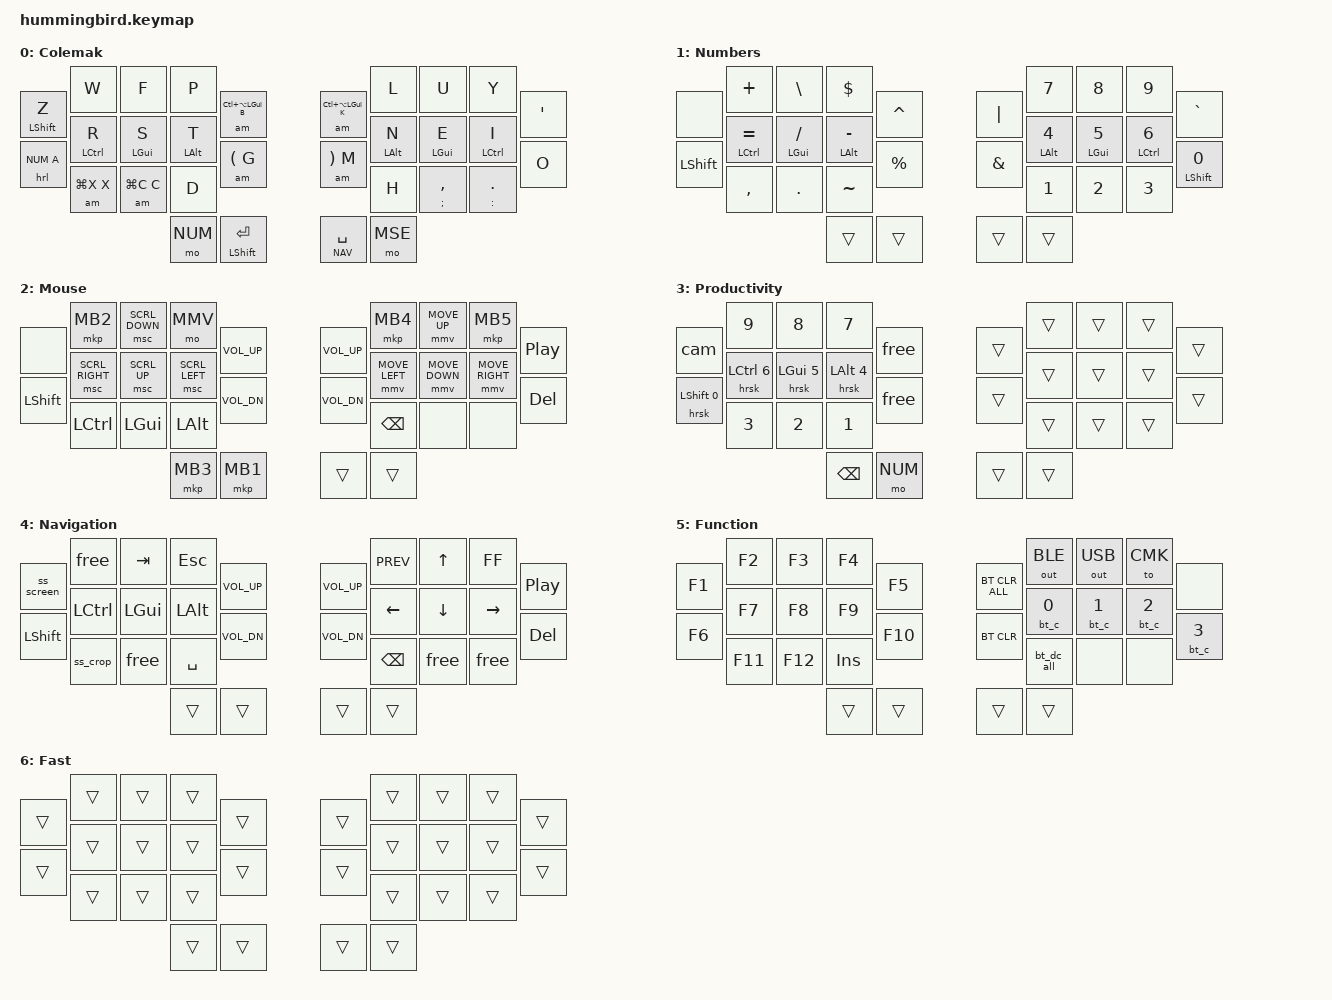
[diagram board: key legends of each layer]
#define ZMK_POINTING_DEFAULT_MOVE_VAL 1900  // default: 600
#define ZMK_POINTING_DEFAULT_SCRL_VAL 14    // default: 10

#include <behaviors.dtsi>
#include <dt-bindings/zmk/keys.h>
#include <dt-bindings/zmk/pointing.h>
#include <dt-bindings/zmk/outputs.h>
#include <dt-bindings/zmk/bt.h>
#include <input/processors.dtsi>   // for speed layer
#include "zmk-helpers/helper.h"
#include "zmk-helpers/key-labels/hummingbird.h"

#define LH1 26 // correct hummingbird.h's labels' values
#define LH0 27
#define RH0 28
#define RH1 29

#define CMK 0 // parameterize layer names
#define NUM 1
#define MSE 2
#define PRD 3
#define NAV 4
#define FUN 5
#define MMV 6

// --- enable ctrl tab somehow
// test balanced hrm for middle, index, inner
// with tap-preferred for pinky, ring
// mouse layer is the least used layer. Move it somehow?
// try to move to 2 thumb keys? alpha thumb? new layout????
// 5x arrow on holding ctrl
// --> macro layer, triggering on mouse (sensor? processor?)
//      save
//      del (morph?)
//      esc/enter
//      send held when holding mods
//      macro for  +Lalt 1, f1 -Lalt


// overrides
&mmv_input_listener { 
    speeder { layers = <MMV>;
        input-processors = <&zip_xy_scaler 7 2>; }; 
};
&mmv {
    trigger-period-ms = <8>;
    time-to-max-speed-ms = <340>;
    acceleration-exponent = <1>;
};
&msc {
    time-to-max-speed-ms = <1000>;
    acceleration-exponent = <1>;
};
&lt { quick_tap_ms = <125>; }; // repeat space


// behaviours
// modify hrm, it is being annoying (bei, br, as, rs,)
ZMK_HOLD_TAP(hrm, // HR mods
    flavor = "tap-preferred";
    tapping-term-ms = <225>;
    require-prior-idle-ms = <80>;
    quick-tap-ms = <180>;
    bindings = <&kp>, <&kp>;
)
ZMK_HOLD_TAP(hrl, // HR layer
    flavor = "tap-preferred";
    tapping-term-ms = <200>;
    require-prior-idle-ms = <60>;
    quick-tap-ms = <180>;
    bindings = <&mo>, <&kp>;
)
ZMK_HOLD_TAP(hrsk, // HR sticky
    flavor = "balanced";
    tapping-term-ms = <180>;
    require-prior-idle-ms = <75>;
    quick-tap-ms = <180>;
    bindings = <&sk>, <&kp>;
)
ZMK_HOLD_TAP(tl, // timeless
    flavor = "balanced";
    tapping-term-ms = <350>;
    require-prior-idle-ms = <50>;
    quick-tap-ms = <180>;
    bindings = <&kp>, <&kp>;
)
ZMK_HOLD_TAP(am, // automod
    flavor = "tap-preferred";
    tapping-term-ms = <175>;
    require-prior-idle-ms = <95>;
    quick-tap-ms = <200>;
    bindings = <&kp>, <&kp>;
)
ZMK_HOLD_TAP(blr, // bootloader + reset
    flavor = "tap-preferred";
    tapping-term-ms = <275>;
    bindings = <&bootloader>, <&sys_reset>;
)
ZMK_TAP_DANCE(ss_screen, // tap copy, hold save
    tapping-term-ms = <300>;
    bindings =
        <&mt LS(LA(LC(LG(N2)))) LS(LA(LC(LG(N1))))>,
        <&kp PRINTSCREEN>;
)
ZMK_TAP_DANCE(ss_crop, // same as ^
    tapping-term-ms = <300>;
    bindings =
        <&mt LS(LA(LC(LG(N4)))) LS(LA(LC(LG(N3))))>,
        <&kp LS(LG(S))>;
)
///////////
//make period/comma HORIZONTAL combos instead of vertical
//  &tapdance [view macro] mt([view macro 2] [save]) 
// LA(LSHIFT) language swap
ZMK_TAP_DANCE(cam,
    tapping-term-ms = <200>;
    bindings =
    <&mt LA(F1) LA(N1)>,
    <&kp LC(S)>;
)
ZMK_MOD_MORPH(cmdq,
    bindings = <&qu>, <&kp LG(Q)>;
    mods = <MOD_LGUI>;
)



// macros
ZMK_MACRO(bt_dc_all, // disconnect all bt
    bindings = <&bt BT_DISC 0 &bt BT_DISC 1 &bt BT_DISC 2 &bt BT_DISC 3>;
)
ZMK_MACRO(qu,
    bindings = <&kp Q &kp U>;
)
ZMK_MACRO_ONE_PARAM(bt_c, // combine bt_sel with out_ble
    bindings = <&macro_param_1to2  &bt BT_SEL 0  /*&out OUT_BLE*/>;
)
ZMK_MACRO(free, bindings = <&none>;) // marker for free spots

// combos                                                         lyr, t/o, idl
//disable some combos on mouse layer
ZMK_COMBO(v,            &am LG(V) V,          LT2 LT1,            ALL) // v
ZMK_COMBO(qucombo,      &qu,                  LB3 LB2,            ALL) // qu
ZMK_COMBO(j,            &kp J,                LB2 LB1,            ALL) // j
ZMK_COMBO(plus,         &mt PLUS EQUAL,       LM1 LM0,            ALL) // + =     *REMEMBER this exists*
ZMK_COMBO(semicolon,    &mt GT LT,            RB2 RB3,            ALL) // < >
ZMK_COMBO(underscore,   &kp UNDERSCORE,       RT1 RT2,            ALL, 23, 50) // _
ZMK_COMBO(dashes,       &mt UNDERSCORE MINUS, RB1 RB2,            ALL) // - _
ZMK_COMBO(slash,        &kp SLASH,            RT2 RT3,            ALL) // /
ZMK_COMBO(esc,          &kp ESC,              LT3 LT2,            ALL, 33, 50) // esc
ZMK_COMBO(tab,          &kp TAB,              LM3 LM2,            ALL, 30, 50) // tab
ZMK_COMBO(bspc,         &kp BSPC,             RM2 RM3,            CMK NUM NAV FUN MMV, 55, 40) // backspace
ZMK_COMBO(bspc_l,       &kp BSPC,             LB3 LB2 LB1,        ALL) // auxiliary backspace
ZMK_COMBO(blr_l,        &blr 0 0,             LT4 LT0 LM4 LM0,    ALL) // rst left (inner+outer)
ZMK_COMBO(blr_r,        &blr 0 0,             RT0 RT4 RM0 RM4,    ALL) // rst right (inner+outer)
ZMK_COMBO(FUN,          &mo FUN,              LH1 LH0,            ALL) // FUN
ZMK_COMBO(CMK,          &to CMK,              LM3 LM2 LM1 RM1 RM2 RM3) // CMK (LCAG mirror positions)
ZMK_COMBO(msctrl,       &kp LC(UP),           LT3 LT2 LT1,        ALL) // mission control
ZMK_COMBO(par,          &mt RPAR LPAR,        LT2 LM2,            ALL) // () 
ZMK_COMBO(bkt,          &mt RBKT LBKT,        LT3 LM3,            ALL) // []
ZMK_COMBO(bang,         &kp EXCL,             LT0 LM0,            ALL) // !
ZMK_COMBO(inter,        &kp QMARK,            RT0 RM0,            ALL) // ?
ZMK_COMBO(pound_at,     &mt AT POUND,         LT1 LM1,            ALL) // @ #
ZMK_COMBO(astrk_gr,     &mt GRAVE ASTERISK,   RT1 RM1,            ALL) // * `
// LA(LSHIFT) language swap

ZMK_LAYER(Colemak, // CMK 0
// ╭──────────────┬──────────────┬──────────────┬──────────────┬──────────────╮   ╭─────────────┬──────────────┬──────────────┬──────────────┬──────────────╮
    &hrm LSHIFT Z  &kp W          &kp F          &kp P         &am LC(LA(LGUI)) B &am LC(LA(LGUI)) K  &kp L     &kp U          &kp Y          &kp APOS
// ├──────────────┼──────────────┼──────────────┼──────────────┼──────────────┤   ├─────────────┼──────────────┼──────────────┼──────────────┼──────────────┤
    &hrl NUM A     &hrm LCTRL R   &hrm LGUI S    &hrm LALT T    &am LPAR G         &am RPAR M    &hrm LALT N    &hrm LGUI E    &hrm LCTRL I   &kp O
// ╰──────────────┼──────────────┼──────────────┼──────────────┼──────────────╯   ╰─────────────┼──────────────┼──────────────┼──────────────┼──────────────╯
                   &am LG(X) X    &am LG(C) C    &kp D                                           &kp H          &mt SCLN COMMA &mt COLON DOT
//                ╰──────────────┴──────────────┼──────────────┼──────────────╮   ╭─────────────┼──────────────┼──────────────┴──────────────╯
                                                 &mo NUM        &mt LSHIFT ENTER   &lt NAV SPACE &mo MSE
//                                              ╰──────────────┴──────────────╯   ╰─────────────┴──────────────╯
)
ZMK_LAYER(Numbers, // NUM 1
// ╭──────────────┬──────────────┬──────────────┬──────────────┬──────────────╮   ╭─────────────┬──────────────┬──────────────┬──────────────┬──────────────╮
    &none          &kp PLUS       &kp BSLH       &kp DLLR       &kp CARET          &kp PIPE      &kp N7         &kp N8         &kp N9         &kp GRAVE
// ├──────────────┼──────────────┼──────────────┼──────────────┼──────────────┤   ├─────────────┼──────────────┼──────────────┼──────────────┼──────────────┤
    &kp LSHIFT     &hrm LCTRL EQUAL &hrm LGUI FSLH &hrm LALT MINUS &kp PRCNT       &kp AMPS      &hrm LALT N4   &hrm LGUI N5   &hrm LCTRL N6  &hrm LSHIFT N0
// ╰──────────────┼──────────────┼──────────────┼──────────────┼──────────────╯   ╰─────────────┼──────────────┼──────────────┼──────────────┼──────────────╯
                   &kp  COMMA     &kp  DOT       &kp  TILDE                                      &kp N1         &kp N2         &kp N3
//                ╰──────────────┴──────────────┼──────────────┼──────────────╮   ╭─────────────┼──────────────┼──────────────┴──────────────╯
                                                 &trans         &trans             &trans        &trans
//                                              ╰──────────────┴──────────────╯   ╰─────────────┴──────────────╯
)
ZMK_LAYER(Mouse, // MSE 2
// ╭──────────────┬──────────────┬──────────────┬──────────────┬──────────────╮   ╭─────────────┬──────────────┬──────────────┬──────────────┬──────────────╮
    &none          &mkp MB2       &msc SCRL_DOWN &mo MMV        &kp C_VOL_UP       &kp C_VOL_UP  &mkp MB4       &mmv MOVE_UP   &mkp MB5       &kp C_PP
// ├──────────────┼──────────────┼──────────────┼──────────────┼──────────────┤   ├─────────────┼──────────────┼──────────────┼──────────────┼──────────────┤
    &kp LSHFT      &msc SCRL_RIGHT &msc SCRL_UP  &msc SCRL_LEFT &kp C_VOL_DN       &kp C_VOL_DN  &mmv MOVE_LEFT &mmv MOVE_DOWN &mmv MOVE_RIGHT &kp DEL
// ╰──────────────┼──────────────┼──────────────┼──────────────┼──────────────╯   ╰─────────────┼──────────────┼──────────────┼──────────────┼──────────────╯
                   &kp LCTRL      &kp LGUI       &kp LALT                                        &kp BACKSPACE  &none          &none
//                ╰──────────────┴──────────────┼──────────────┼──────────────╮   ╭─────────────┼──────────────┼──────────────┴──────────────╯
                                                 &mkp MB3       &mkp MB1           &trans        &trans
//                                              ╰──────────────┴──────────────╯   ╰─────────────┴──────────────╯
)
//&zip_temp_layer PRD <time>
ZMK_LAYER(Productivity, // PRD 3
//layer-specific combos?
// ╭──────────────┬──────────────┬──────────────┬──────────────┬──────────────╮   ╭─────────────┬──────────────┬──────────────┬──────────────┬──────────────╮)
    &cam           &kp N9         &kp N8         &kp N7         &free              &trans        &trans         &trans         &trans         &trans
// ├──────────────┼──────────────┼──────────────┼──────────────┼──────────────┤   ├─────────────┼──────────────┼──────────────┼──────────────┼──────────────┤
    &hrsk LSHIFT N0 &hrsk LCTRL N6 &hrsk LGUI N5 &hrsk LALT N4  &free              &trans        &trans         &trans         &trans         &trans
// ╰──────────────┼──────────────┼──────────────┼──────────────┼──────────────╯   ╰─────────────┼──────────────┼──────────────┼──────────────┼──────────────╯
                   &kp N3         &kp N2         &kp N1                                          &trans         &trans         &trans
//                ╰──────────────┴──────────────┼──────────────┼──────────────╮   ╭─────────────┼──────────────┼──────────────┴──────────────╯
                                                 &kp BSPC       &mo NUM            &trans        &trans
//                                              ╰──────────────┴──────────────╯   ╰─────────────┴──────────────╯
)
ZMK_LAYER(Navigation, // NAV 4
// ╭──────────────┬──────────────┬──────────────┬──────────────┬──────────────╮   ╭─────────────┬──────────────┬──────────────┬──────────────┬──────────────╮
    &ss_screen     &free          &kp TAB        &kp ESC        &kp C_VOL_UP       &kp C_VOL_UP  &kp C_PREV     &kp UP         &kp C_FF       &kp C_PP
// ├──────────────┼──────────────┼──────────────┼──────────────┼──────────────┤   ├─────────────┼──────────────┼──────────────┼──────────────┼──────────────┤
    &kp LSHFT      &kp LCTRL      &kp LGUI       &kp LALT       &kp C_VOL_DN       &kp C_VOL_DN  &kp LEFT       &kp DOWN       &kp RIGHT      &kp DEL
// ╰──────────────┼──────────────┼──────────────┼──────────────┼──────────────╯   ╰─────────────┼──────────────┼──────────────┼──────────────┼──────────────╯
                   &ss_crop       &free          &kp SPACE                                       &kp BSPC       &free          &free
//                ╰──────────────┴──────────────┼──────────────┼──────────────╮   ╭─────────────┼──────────────┼──────────────┴──────────────╯
                                                 &trans         &trans             &trans        &trans
//                                              ╰──────────────┴──────────────╯   ╰─────────────┴──────────────╯
)
ZMK_LAYER(Function, // FUN 5
// ╭──────────────┬──────────────┬──────────────┬──────────────┬──────────────╮   ╭─────────────┬──────────────┬──────────────┬──────────────┬──────────────╮
    &kp F1         &kp F2         &kp F3         &kp F4         &kp F5             &bt BT_CLR_ALL &out OUT_BLE  &out OUT_USB   &to CMK        &none
// ├──────────────┼──────────────┼──────────────┼──────────────┼──────────────┤   ├─────────────┼──────────────┼──────────────┼──────────────┼──────────────┤
    &kp F6         &kp F7         &kp F8         &kp F9         &kp F10            &bt BT_CLR    &bt_c 0        &bt_c 1        &bt_c 2        &bt_c 3
// ╰──────────────┼──────────────┼──────────────┼──────────────┼──────────────╯   ╰─────────────┼──────────────┼──────────────┼──────────────┼──────────────╯
                   &kp F11        &kp F12        &kp INS                                         &bt_dc_all     &none          &none
//                ╰──────────────┴──────────────┼──────────────┼──────────────╮   ╭─────────────┼──────────────┼──────────────┴──────────────╯
                                                 &trans         &trans             &trans        &trans
//                                              ╰──────────────┴──────────────╯   ╰─────────────┴──────────────╯
)
ZMK_LAYER(Fast, // MMV 6 topmost
&trans &trans &trans &trans &trans &trans &trans &trans &trans &trans
&trans &trans &trans &trans &trans &trans &trans &trans &trans &trans
&trans &trans &trans &trans &trans &trans
&trans &trans &trans &trans
)
/*
ZMK_LAYER(Qwerty, // QWR 1
// ╭──────────────┬──────────────┬──────────────┬──────────────┬──────────────╮   ╭─────────────┬──────────────┬──────────────┬──────────────┬──────────────╮
    &kp Q          &kp W          &kp E          &kp R          &kp T              &kp Y         &kp U          &kp I          &kp O          &kp P
// ├──────────────┼──────────────┼──────────────┼──────────────┼──────────────┤   ├─────────────┼──────────────┼──────────────┼──────────────┼──────────────┤
    &hrm LSHIFT A  &hrm LCTRL S   &hrm LGUI D    &hrm LALT F    &kp G              &kp H         &hrm LALT J    &hrm LGUI K    &hrm LCTRL L   &hrm LSHIFT B
// ╰──────────────┼──────────────┼──────────────┼──────────────┼──────────────╯   ╰─────────────┼──────────────┼──────────────┼──────────────┼──────────────╯
                   &am LG(X) X    &am LG(C) C    &kp V                                           &kp N          &kp COMMA      &kp DOT
//                ╰──────────────┴──────────────┼──────────────┼──────────────╮   ╭─────────────┼──────────────┼──────────────┴──────────────╯
                                                 &trans         &trans             &trans        &trans
//                                              ╰──────────────┴──────────────╯   ╰─────────────┴──────────────╯
)
ZMK_LAYER(Windows, // WCK 2
// ╭──────────────┬──────────────┬──────────────┬──────────────┬──────────────╮   ╭─────────────┬──────────────┬──────────────┬──────────────┬──────────────╮
    &am LC(Z) Z    &trans         &trans         &trans         &trans             &trans        &trans         &trans         &trans         &trans
// ├──────────────┼──────────────┼──────────────┼──────────────┼──────────────┤   ├─────────────┼──────────────┼──────────────┼──────────────┼──────────────┤
    &trans         &trans         &trans         &trans             &trans        &trans         &trans         &trans         &trans
// ╰──────────────┼──────────────┼──────────────┼──────────────┼──────────────╯   ╰─────────────┼──────────────┼──────────────┼──────────────┼──────────────╯
                   &am LC(X) X    &am LC(C) C    &trans                                          &trans         &trans         &trans
//                ╰──────────────┴──────────────┼──────────────┼──────────────╮   ╭─────────────┼──────────────┼──────────────┴──────────────╯
                                                 &trans         &trans             &trans        &trans
//                                              ╰──────────────┴──────────────╯   ╰─────────────┴──────────────╯
)*/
